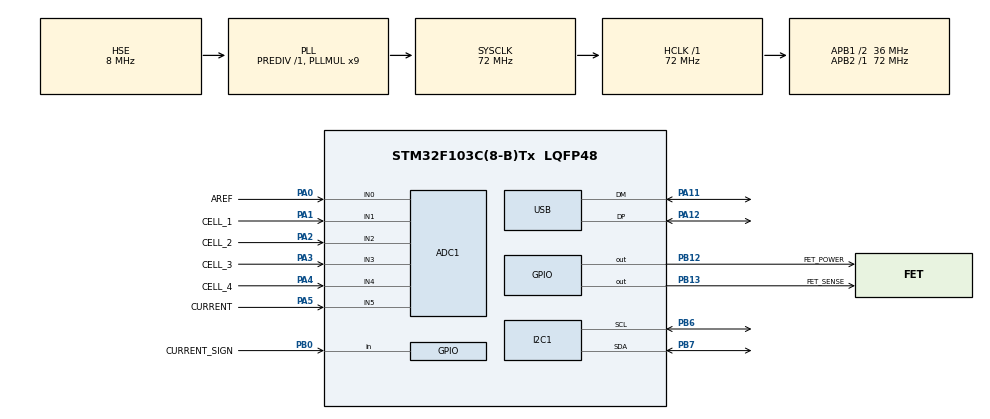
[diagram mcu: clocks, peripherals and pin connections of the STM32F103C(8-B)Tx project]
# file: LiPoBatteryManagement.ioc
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ADC1.Channel-10\#ChannelRegularConversion=ADC_CHANNEL_VREFINT
ADC1.Channel-3\#ChannelRegularConversion=ADC_CHANNEL_0
ADC1.Channel-4\#ChannelRegularConversion=ADC_CHANNEL_1
ADC1.Channel-5\#ChannelRegularConversion=ADC_CHANNEL_2
ADC1.Channel-6\#ChannelRegularConversion=ADC_CHANNEL_3
ADC1.Channel-7\#ChannelRegularConversion=ADC_CHANNEL_4
ADC1.Channel-8\#ChannelRegularConversion=ADC_CHANNEL_5
ADC1.Channel-9\#ChannelRegularConversion=ADC_CHANNEL_TEMPSENSOR
ADC1.ContinuousConvMode=ENABLE
ADC1.NbrOfConversion=8
ADC1.NbrOfConversionFlag=1
ADC1.Rank-10\#ChannelRegularConversion=8
ADC1.Rank-3\#ChannelRegularConversion=1
ADC1.Rank-4\#ChannelRegularConversion=2
ADC1.Rank-5\#ChannelRegularConversion=3
ADC1.Rank-6\#ChannelRegularConversion=4
ADC1.Rank-7\#ChannelRegularConversion=5
ADC1.Rank-8\#ChannelRegularConversion=6
ADC1.Rank-9\#ChannelRegularConversion=7
ADC1.SamplingTime-10\#ChannelRegularConversion=ADC_SAMPLETIME_28CYCLES_5
ADC1.SamplingTime-3\#ChannelRegularConversion=ADC_SAMPLETIME_28CYCLES_5
ADC1.SamplingTime-4\#ChannelRegularConversion=ADC_SAMPLETIME_28CYCLES_5
ADC1.SamplingTime-5\#ChannelRegularConversion=ADC_SAMPLETIME_28CYCLES_5
ADC1.SamplingTime-6\#ChannelRegularConversion=ADC_SAMPLETIME_28CYCLES_5
ADC1.SamplingTime-7\#ChannelRegularConversion=ADC_SAMPLETIME_28CYCLES_5
ADC1.SamplingTime-8\#ChannelRegularConversion=ADC_SAMPLETIME_28CYCLES_5
ADC1.SamplingTime-9\#ChannelRegularConversion=ADC_SAMPLETIME_28CYCLES_5
ADC1.master=1
Dma.ADC1.0.Direction=DMA_PERIPH_TO_MEMORY
Dma.ADC1.0.Instance=DMA1_Channel1
Dma.ADC1.0.MemDataAlignment=DMA_MDATAALIGN_HALFWORD
Dma.ADC1.0.MemInc=DMA_MINC_ENABLE
Dma.ADC1.0.Mode=DMA_CIRCULAR
Dma.ADC1.0.PeriphDataAlignment=DMA_PDATAALIGN_HALFWORD
Dma.ADC1.0.PeriphInc=DMA_PINC_DISABLE
Dma.ADC1.0.Priority=DMA_PRIORITY_LOW
Dma.Request0=ADC1
I2C1.I2C_Mode=I2C_Standard
IWDG.Prescaler=IWDG_PRESCALER_64
Mcu.Family=STM32F1
Mcu.Name=STM32F103C(8-B)Tx
Mcu.Package=LQFP48
NVIC.ADC1_2_IRQn=true\:0\:0\:false\:false\:true\:true\:true\:true
NVIC.DMA1_Channel1_IRQn=true\:0\:0\:false\:false\:true\:false\:true\:true
NVIC.PriorityGroup=NVIC_PRIORITYGROUP_4
NVIC.USB_LP_CAN1_RX0_IRQn=true\:0\:0\:false\:false\:true\:false\:true\:true
PA0-WKUP.GPIO_Label=AREF
PA0-WKUP.Signal=ADCx_IN0
PA1.GPIO_Label=CELL_1
PA1.Signal=ADCx_IN1
PA11.Mode=Device
PA11.Signal=USB_DM
PA12.Mode=Device
PA12.Signal=USB_DP
PA13.Mode=Serial_Wire
PA13.Signal=SYS_JTMS-SWDIO
PA14.Mode=Serial_Wire
PA14.Signal=SYS_JTCK-SWCLK
PA2.GPIO_Label=CELL_2
PA2.Signal=ADCx_IN2
PA3.GPIO_Label=CELL_3
PA3.Signal=ADCx_IN3
PA4.GPIO_Label=CELL_4
PA4.Signal=ADCx_IN4
PA5.GPIO_Label=CURRENT
PA5.Signal=ADCx_IN5
PB0.GPIO_Label=CURRENT_SIGN
PB0.Signal=GPIO_Input
PB12.GPIO_Label=FET_POWER
PB12.Signal=GPIO_Output
PB13.GPIO_Label=FET_SENSE
PB13.Signal=GPIO_Output
PB6.Mode=I2C
PB6.Signal=I2C1_SCL
PB7.Mode=I2C
PB7.Signal=I2C1_SDA
PD0-OSC_IN.Mode=HSE-External-Oscillator
PD0-OSC_IN.Signal=RCC_OSC_IN
PD1-OSC_OUT.Mode=HSE-External-Oscillator
PD1-OSC_OUT.Signal=RCC_OSC_OUT
ProjectManager.HeapSize=0x200
ProjectManager.StackSize=0x400
ProjectManager.TargetToolchain=STM32CubeIDE
RCC.ADCPresc=RCC_ADCPCLK2_DIV8
RCC.AHBFreq_Value=72000000
RCC.APB1CLKDivider=RCC_HCLK_DIV2
RCC.APB1Freq_Value=36000000
RCC.APB1TimFreq_Value=72000000
RCC.APB2Freq_Value=72000000
RCC.APB2TimFreq_Value=72000000
RCC.HCLKFreq_Value=72000000
RCC.PLLMUL=RCC_PLL_MUL9
RCC.PLLSourceVirtual=RCC_PLLSOURCE_HSE
RCC.SYSCLKFreq_VALUE=72000000
RCC.SYSCLKSource=RCC_SYSCLKSOURCE_PLLCLK
RCC.USBFreq_Value=48000000
RCC.USBPrescaler=RCC_USBCLKSOURCE_PLL_DIV1_5
SH.ADCx_IN0.0=ADC1_IN0,IN0
SH.ADCx_IN1.0=ADC1_IN1,IN1
SH.ADCx_IN2.0=ADC1_IN2,IN2
SH.ADCx_IN3.0=ADC1_IN3,IN3
SH.ADCx_IN4.0=ADC1_IN4,IN4
SH.ADCx_IN5.0=ADC1_IN5,IN5
USB_DEVICE.CLASS_NAME_FS=CDC
USB_DEVICE.LANGID_STRING=1031
USB_DEVICE.VirtualMode=Cdc
USB_DEVICE.VirtualModeFS=Cdc_FS
VP_ADC1_TempSens_Input.Mode=IN-TempSens
VP_ADC1_Vref_Input.Mode=IN-Vrefint
VP_CRC_VS_CRC.Mode=CRC_Activate
VP_IWDG_VS_IWDG.Mode=IWDG_Activate
VP_USB_DEVICE_VS_USB_DEVICE_CDC_FS.Mode=CDC_FS
board=custom

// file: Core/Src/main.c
/* USER CODE BEGIN Header */
/**
  ******************************************************************************
  * @file           : main.c
  * @brief          : Main program body
  ******************************************************************************
  * @attention
  *
  * Copyright (c) 2022 STMicroelectronics.
  * All rights reserved.
  *
  * This software is licensed under terms that can be found in the LICENSE file
  * in the root directory of this software component.
  * If no LICENSE file comes with this software, it is provided AS-IS.
  *
  ******************************************************************************
  */
/* USER CODE END Header */

#include "main.h"
#include "adc.h"
#include "crc.h"
#include "dma.h"
#include "i2c.h"
#include "iwdg.h"
#include "usb_device.h"
#include "gpio.h"

/* USER CODE BEGIN Includes */
#include "string.h"
#include "usbd_cdc_if.h"
#include "cell_measurement.h"
/* USER CODE END Includes */

/* USER CODE BEGIN PD */
#define kick_dog   IWDG->KR = 0xaaaa  // refresh watchdog;
/* USER CODE END PD */

/* USER CODE BEGIN PV */
uint8_t newline[] = {"\r\n"};
/*
static uint8_t buf[1000];
 uint8_t *half = &buf[0];
 uint8_t *full = &buf[499];
 uint16_t blocksize = sizeof(buf)/2;
 */
extern PCD_HandleTypeDef hpcd_USB_FS;
/* USER CODE END PV */

void SystemClock_Config(void);

int main(void)
{

  /* MCU Configuration--------------------------------------------------------*/

  /* Reset of all peripherals, Initializes the Flash interface and the Systick. */
  HAL_Init();

  /* Configure the system clock */
  SystemClock_Config();

  /* Initialize all configured peripherals */
  MX_GPIO_Init();
  MX_DMA_Init();
  MX_ADC1_Init();
  MX_I2C1_Init();
  MX_CRC_Init();
  MX_USB_DEVICE_Init();
  MX_IWDG_Init();
  /* USER CODE BEGIN 2 */
  DBGMCU->CR = DBGMCU_CR_DBG_IWDG_STOP;  // Stop Watchdog in Debug Breakpoints

  uint8_t text[50] = {"\r\nStarting....\r\n"};

  /* USER CODE END 2 */

  /* Infinite loop */
  /* USER CODE BEGIN WHILE */

  kick_dog;
  usb_is_init();

  HAL_Delay(50);
  usb_vcp_send(text, sizeof(text));
  kick_dog;
  HAL_Delay(50);

  if(HAL_ADCEx_Calibration_Start(&hadc1) == HAL_OK){
	  memset(text,0,sizeof(text));
	  strcpy((char*)text,"ADC Calibration successful\r\n");
	  usb_vcp_send(text, sizeof(text));
  }else{
	  memset(text,0,sizeof(text));
	  strcpy((char*)text,"ADC Calibration failed\r\n");
	  usb_vcp_send(text, sizeof(text));
  }

  startMeasurement(&hadc1);
  while (1)
  {

	  /* USER CODE END WHILE */

	  /* USER CODE BEGIN 3 */
	  ADC_STRUCT temp = {0};
	  for(uint8_t i = 0; i < RESULT_LENGTH; i++){
		  temp.ext_reference += result[i].ext_reference;
		  temp.voltage_cell_1 += result[i].voltage_cell_1;
		  temp.voltage_cell_2 += result[i].voltage_cell_2;
		  temp.voltage_cell_3 += result[i].voltage_cell_3;
		  temp.voltage_cell_4 += result[i].voltage_cell_4;
		  temp.current += result[i].current;
		  temp.temperature += result[i].temperature;
		  temp.int_reference += result[i].int_reference;
	  }
	  temp.ext_reference /= RESULT_LENGTH;
	  temp.voltage_cell_1 /= RESULT_LENGTH;
	  temp.voltage_cell_2 /= RESULT_LENGTH;
	  temp.voltage_cell_3 /= RESULT_LENGTH;
	  temp.voltage_cell_4 /= RESULT_LENGTH;
	  temp.current /= RESULT_LENGTH;
	  temp.temperature /= RESULT_LENGTH;
	  temp.int_reference /= RESULT_LENGTH;

	  kick_dog;
	  calculateAnalog();
	  memset(text,0,sizeof(text));
	  sprintf((char*)text,"%f",temp.temperature);
	  usb_vcp_send(text, sizeof(text));
	  strcpy((char*)text," Temp in C\r\n");
	  usb_vcp_send(text, sizeof(text));

	  memset(text,0,sizeof(text));
	  sprintf((char*)text,"%f",temp.int_reference);
	  usb_vcp_send(text, sizeof(text));
	  strcpy((char*)text," Ref in V\r\n");
	  usb_vcp_send(text, sizeof(text));

	  HAL_Delay(250);
  }
  /* USER CODE END 3 */
}

void SystemClock_Config(void)
{
  RCC_OscInitTypeDef RCC_OscInitStruct = {0};
  RCC_ClkInitTypeDef RCC_ClkInitStruct = {0};
  RCC_PeriphCLKInitTypeDef PeriphClkInit = {0};

  /** Initializes the RCC Oscillators according to the specified parameters
  * in the RCC_OscInitTypeDef structure.
  */
  RCC_OscInitStruct.OscillatorType = RCC_OSCILLATORTYPE_LSI|RCC_OSCILLATORTYPE_HSE;
  RCC_OscInitStruct.HSEState = RCC_HSE_ON;
  RCC_OscInitStruct.HSEPredivValue = RCC_HSE_PREDIV_DIV1;
  RCC_OscInitStruct.HSIState = RCC_HSI_ON;
  RCC_OscInitStruct.LSIState = RCC_LSI_ON;
  RCC_OscInitStruct.PLL.PLLState = RCC_PLL_ON;
  RCC_OscInitStruct.PLL.PLLSource = RCC_PLLSOURCE_HSE;
  RCC_OscInitStruct.PLL.PLLMUL = RCC_PLL_MUL9;
  if (HAL_RCC_OscConfig(&RCC_OscInitStruct) != HAL_OK)
  {
    Error_Handler();
  }

  /** Initializes the CPU, AHB and APB buses clocks
  */
  RCC_ClkInitStruct.ClockType = RCC_CLOCKTYPE_HCLK|RCC_CLOCKTYPE_SYSCLK
                              |RCC_CLOCKTYPE_PCLK1|RCC_CLOCKTYPE_PCLK2;
  RCC_ClkInitStruct.SYSCLKSource = RCC_SYSCLKSOURCE_PLLCLK;
  RCC_ClkInitStruct.AHBCLKDivider = RCC_SYSCLK_DIV1;
  RCC_ClkInitStruct.APB1CLKDivider = RCC_HCLK_DIV2;
  RCC_ClkInitStruct.APB2CLKDivider = RCC_HCLK_DIV1;

  if (HAL_RCC_ClockConfig(&RCC_ClkInitStruct, FLASH_LATENCY_2) != HAL_OK)
  {
    Error_Handler();
  }
  PeriphClkInit.PeriphClockSelection = RCC_PERIPHCLK_ADC|RCC_PERIPHCLK_USB;
  PeriphClkInit.AdcClockSelection = RCC_ADCPCLK2_DIV8;
  PeriphClkInit.UsbClockSelection = RCC_USBCLKSOURCE_PLL_DIV1_5;
  if (HAL_RCCEx_PeriphCLKConfig(&PeriphClkInit) != HAL_OK)
  {
    Error_Handler();
  }
}

void Error_Handler(void)
{
  __disable_irq();
  while (1)
  {
  }
}
